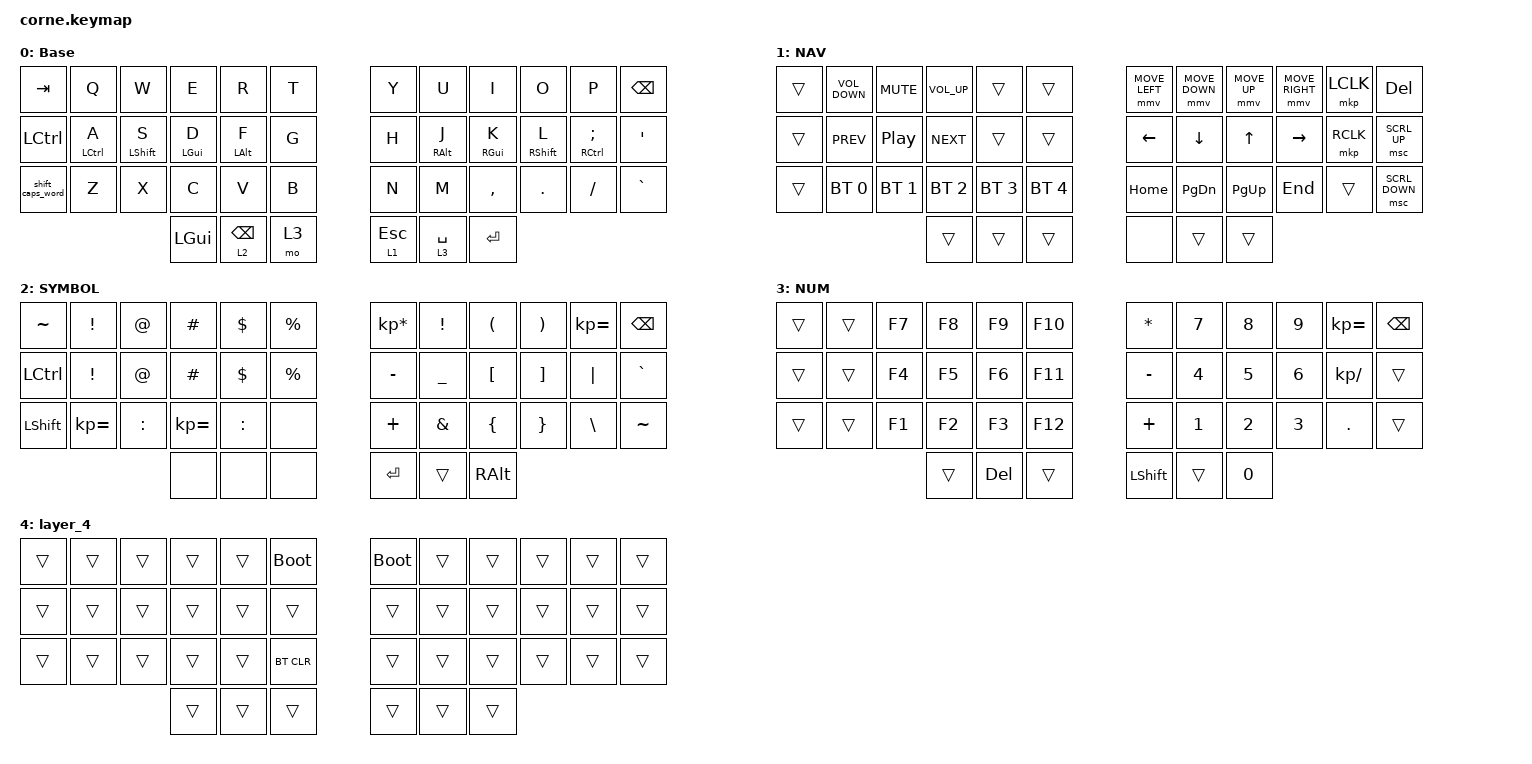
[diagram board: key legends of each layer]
/*
 * Copyright (c) 2020 The ZMK Contributors
 *
 * SPDX-License-Identifier: MIT
 */

#include <behaviors.dtsi>
#include <dt-bindings/zmk/bt.h>
#include <dt-bindings/zmk/keys.h>
#include <dt-bindings/zmk/pointing.h>

/ {
    behaviors {
        shift_caps_word: shift_caps_word {
            compatible = "zmk,behavior-tap-dance";
            label = "SHIFT_CAPS_WORD";
            #binding-cells = <0>;
            bindings = <&kp LEFT_SHIFT>, <&caps_word>;

            tapping-term-ms = <200>;
        };

        hml: hml {
            compatible = "zmk,behavior-hold-tap";
            label = "HML";
            bindings = <&kp>, <&kp>;

            #binding-cells = <2>;
            tapping-term-ms = <280>;
            quick-tap-ms = <175>;
            require-prior-idle-ms = <150>;
            flavor = "balanced";
            hold-trigger-on-release;
            hold-trigger-key-positions = <36 37 38 39 40 41 6 7 8 9 10 11 18 19 20 21 22 23 30 31 32 33 34 35>;
        };

        hmr: hmr {
            compatible = "zmk,behavior-hold-tap";
            label = "HMR";
            bindings = <&kp>, <&kp>;

            #binding-cells = <2>;
            tapping-term-ms = <280>;
            quick-tap-ms = <175>;
            require-prior-idle-ms = <150>;
            flavor = "balanced";
            hold-trigger-on-release;
            hold-trigger-key-positions = <0 1 2 3 4 5 12 13 14 15 16 17 24 25 26 27 28 29 36 37 38 39 40 41>;
        };
    };

    combos {
        compatible = "zmk,combos";

        c_tab {
            bindings = <&kp TAB>;
            key-positions = <1 2>;
            require-prior-idle-ms = <150>;
            layers = <0>;
        };

        capsword {
            bindings = <&caps_word>;
            key-positions = <14 21>;
            layers = <0>;
            require-prior-idle-ms = <150>;
        };
    };

    keymap {
        compatible = "zmk,keymap";

        default_layer {
            // -----------------------------------------------------------------------------------------
            // |  TAB |  Q  |  W  |  E  |  R  |  T  |   |  Y  |  U   |  I  |  O  |  P  | BKSP |
            // | CTRL |  A  |  S  |  D  |  F  |  G  |   |  H  |  J   |  K  |  L  |  ;  |  '   |
            // | SHFT |  Z  |  X  |  C  |  V  |  B  |   |  N  |  M   |  ,  |  .  |  /  | ESC  |
            //                    | GUI | LWR | SPC |   | ENT | RSE  | ALT |

            display-name = "Base";
            bindings = <
&kp TAB           &kp Q                &kp W              &kp E            &kp R            &kp T    &kp Y      &kp U             &kp I             &kp O               &kp P                         &kp BSPC
&kp LCTRL         &hml LEFT_CONTROL A  &hml LEFT_SHIFT S  &hml LEFT_GUI D  &hml LEFT_ALT F  &kp G    &kp H      &hmr RIGHT_ALT J  &hmr RIGHT_GUI K  &hmr RIGHT_SHIFT L  &hmr RIGHT_CONTROL SEMICOLON  &kp SQT
&shift_caps_word  &kp Z                &kp X              &kp C            &kp V            &kp B    &kp N      &kp M             &kp COMMA         &kp DOT             &kp FSLH                      &kp GRAVE
                                                          &kp LGUI         &lt 2 BACKSPACE  &mo 3    &lt 1 ESC  &lt 3 SPACE       &kp ENTER
            >;
        };

        NAV {
            // -----------------------------------------------------------------------------------------
            // |  TAB |  1  |  2  |  3  |  4  |  5  |   |  6  |  7  |  8  |  9  |  0  | BKSP |
            // | BTCLR| BT1 | BT2 | BT3 | BT4 | BT5 |   | LFT | DWN |  UP | RGT |     |      |
            // | SHFT |     |     |     |     |     |   |     |     |     |     |     |      |
            //                    | GUI |     | SPC |   | ENT |     | ALT |

            display-name = "NAV";
            bindings = <
&trans  &kp C_VOLUME_DOWN  &kp C_MUTE        &kp C_VOLUME_UP  &trans        &trans          &mmv MOVE_LEFT  &mmv MOVE_DOWN  &mmv MOVE_UP  &mmv MOVE_RIGHT  &mkp LCLK  &kp DEL
&trans  &kp C_PREV         &kp C_PLAY_PAUSE  &kp C_NEXT       &trans        &trans          &kp LEFT        &kp DOWN        &kp UP        &kp RIGHT        &mkp RCLK  &msc SCRL_UP
&trans  &bt BT_SEL 0       &bt BT_SEL 1      &bt BT_SEL 2     &bt BT_SEL 3  &bt BT_SEL 4    &kp HOME        &kp PAGE_DOWN   &kp PAGE_UP   &kp END          &trans     &msc SCRL_DOWN
                                             &trans           &trans        &trans          &none           &trans          &trans
            >;
        };

        SYMBOl {
            // -----------------------------------------------------------------------------------------
            // |  TAB |  !  |  @  |  #  |  $  |  %  |   |  ^  |  &  |  *  |  (  |  )  | BKSP |
            // | CTRL |     |     |     |     |     |   |  -  |  =  |  [  |  ]  |  \  |  `   |
            // | SHFT |     |     |     |     |     |   |  _  |  +  |  {  |  }  | "|" |  ~   |
            //                    | GUI |     | SPC |   | ENT |     | ALT |

            display-name = "SYMBOL";
            bindings = <
&kp TILDE  &kp EXCL         &kp AT       &kp HASH      &kp DLLR    &kp PRCNT      &kp KP_MULTIPLY  &kp EXCLAMATION  &kp LPAR  &kp RPAR  &kp KP_EQUAL   &kp BSPC
&kp LCTRL  &kp EXCLAMATION  &kp AT_SIGN  &kp POUND     &kp DOLLAR  &kp PERCENT    &kp MINUS        &kp UNDERSCORE   &kp LBKT  &kp RBKT  &kp PIPE       &kp GRAVE
&kp LSHFT  &kp KP_EQUAL     &kp COLON    &kp KP_EQUAL  &kp COLON   &none          &kp PLUS         &kp AMPS         &kp LBRC  &kp RBRC  &kp BACKSLASH  &kp TILDE
                                         &none         &none       &none          &kp RET          &trans           &kp RALT
            >;
        };

        NUM {
            bindings = <
&trans  &trans  &kp F7  &kp F8  &kp F9      &kp F10    &kp ASTERISK    &kp N7  &kp N8        &kp N9  &kp KP_EQUAL   &kp BACKSPACE
&trans  &trans  &kp F4  &kp F5  &kp F6      &kp F11    &kp MINUS       &kp N4  &kp N5        &kp N6  &kp KP_DIVIDE  &trans
&trans  &trans  &kp F1  &kp F2  &kp F3      &kp F12    &kp PLUS        &kp N1  &kp N2        &kp N3  &kp DOT        &trans
                        &trans  &kp DELETE  &trans     &kp LEFT_SHIFT  &trans  &kp NUMBER_0
            >;

            label = "NUM";
        };

        layer_4 {
            bindings = <
&trans  &trans  &trans  &trans  &trans  &bootloader    &bootloader  &trans  &trans  &trans  &trans  &trans
&trans  &trans  &trans  &trans  &trans  &trans         &trans       &trans  &trans  &trans  &trans  &trans
&trans  &trans  &trans  &trans  &trans  &bt BT_CLR     &trans       &trans  &trans  &trans  &trans  &trans
                        &trans  &trans  &trans         &trans       &trans  &trans
            >;
        };
    };

    conditional_layers {
        compatible = "zmk,conditional-layers";

        firmware {
            if-layers = <2 3>;
            then-layer = <4>;
        };
    };
};
